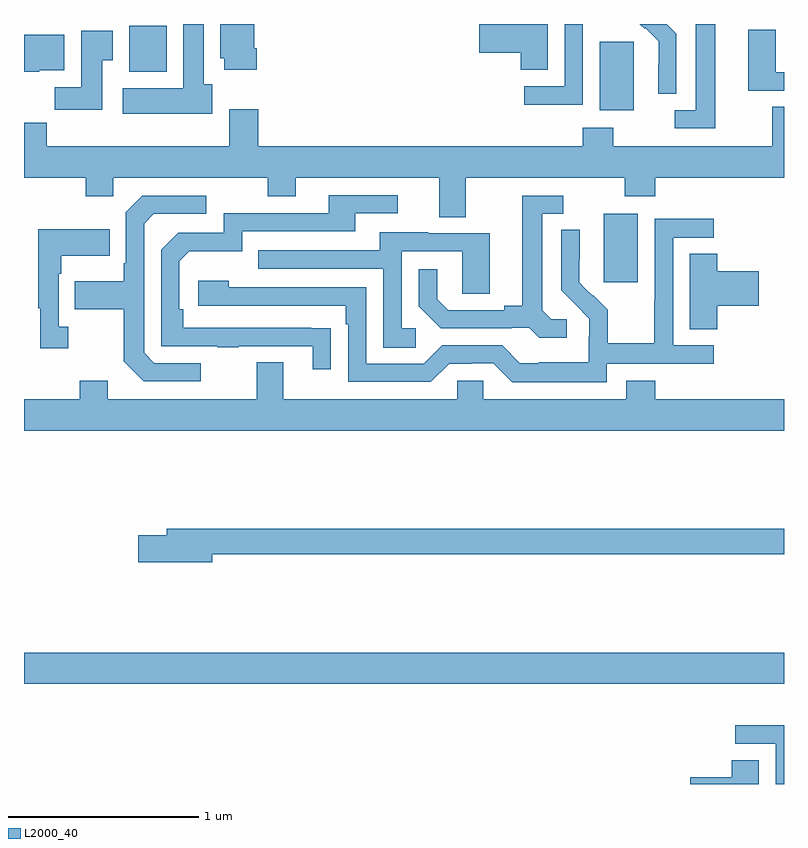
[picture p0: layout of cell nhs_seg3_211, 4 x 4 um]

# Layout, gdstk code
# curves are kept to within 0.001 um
import gdstk
lib = gdstk.Library(unit=1e-6, precision=1e-09)
def R(c, l, rs):  # rectangles x0, y0, x1, y1
    for r in rs: c.add(gdstk.rectangle(r[:2], r[2:], *l))
def P(c, l, *ps):  # polygons
    for p in ps: c.add(gdstk.Polygon(p, *l))
L2000_40 = (2000, 40)

nhs_seg3_211 = lib.new_cell('nhs_seg3_211')
R(nhs_seg3_211, L2000_40, [(121,688.928,125,689.092), (124.052,691.041,124.231,691.402), (124.031,691.946,124.21,692.307), (121.553,692.15,121.75,692.392)])
P(nhs_seg3_211, L2000_40, [(124.434,692.35),(124.384,692.4),(124.242,692.4),(124.266,692.376),(124.269,692.379),(124.34,692.309),(124.34,692.186),(124.338,692.186),(124.338,692.032),(124.434,692.032)],
  [(123.942,692.4),(123.846,692.4),(123.846,692.073),(123.633,692.073),(123.633,691.975),(123.942,691.975)],
  [(124.639,692.4),(124.535,692.4),(124.535,691.947),(124.425,691.947),(124.425,691.851),(124.639,691.851)],
  [(121.99,692.082),(121.945,692.082),(121.945,692.4),(121.838,692.4),(121.838,692.062),(121.521,692.062),(121.521,691.928),(121.99,691.928)],
  [(122.225,692.272),(122.212,692.272),(122.212,692.4),(122.033,692.4),(122.033,692.22),(122.054,692.22),(122.054,692.16),(122.225,692.16)],
  [(123.757,692.4),(123.396,692.4),(123.396,692.249),(123.614,692.249),(123.614,692.158),(123.757,692.158)],
  [(125,692.145),(124.956,692.145),(124.956,692.369),(124.811,692.369),(124.811,692.049),(125,692.049)],
  [(121.411,692.209),(121.468,692.209),(121.468,692.365),(121.301,692.365),(121.301,692.068),(121.162,692.068),(121.162,691.95),(121.411,691.95)],
  [(121.08,692.156),(121.213,692.156),(121.213,692.344),(121,692.344),(121,692.15),(121.08,692.15)],
  [(123.325,691.592),(124.162,691.592),(124.162,691.493),(124.322,691.493),(124.322,691.592),(125,691.592),(125,691.964),(124.937,691.964),(124.937,691.756),(124.101,691.756),(124.101,691.855),(123.941,691.855),(123.941,691.756),(122.234,691.756),(122.234,691.951),(122.081,691.951),(122.081,691.756),(121.121,691.756),(121.121,691.88),(121,691.88),(121,691.592),(121.324,691.592),(121.324,691.493),(121.47,691.493),(121.47,691.592),(122.284,691.592),(122.284,691.493),(122.431,691.493),(122.431,691.592),(123.185,691.592),(123.185,691.384),(123.325,691.384)],
  [(122.615,690.8),(121.838,690.801),(121.838,690.898),(121.818,690.898),(121.818,691.152),(121.871,691.205),(122.148,691.205),(122.148,691.308),(122.743,691.308),(122.743,691.404),(122.968,691.404),(122.968,691.5),(122.603,691.5),(122.603,691.404),(122.052,691.404),(122.052,691.302),(121.812,691.302),(121.722,691.212),(121.722,690.705),(122.017,690.705),(122.017,690.7),(122.129,690.7),(122.129,690.705),(122.519,690.705),(122.519,690.582),(122.615,690.582)],
  [(121.93,690.615),(121.686,690.615),(121.632,690.669),(121.632,691.35),(121.683,691.401),(121.96,691.401),(121.96,691.497),(121.623,691.497),(121.536,691.41),(121.536,691.141),(121.524,691.141),(121.524,691.045),(121.267,691.045),(121.267,690.898),(121.524,690.898),(121.524,690.625),(121.629,690.519),(121.93,690.519)],
  [(123.856,690.846),(123.774,690.846),(123.727,690.893),(123.727,691.401),(123.838,691.401),(123.838,691.497),(123.623,691.497),(123.623,690.917),(123.527,690.917),(123.527,690.894),(123.232,690.894),(123.175,690.951),(123.175,691.108),(123.078,691.108),(123.078,690.914),(123.194,690.798),(123.566,690.798),(123.566,690.801),(123.66,690.801),(123.712,690.749),(123.856,690.749)],
  [(124.068,690.612),(124.63,690.612),(124.63,690.708),(124.416,690.708),(124.416,691.275),(124.63,691.275),(124.63,691.374),(124.32,691.374),(124.32,690.944),(124.318,690.944),(124.318,690.721),(124.073,690.721),(124.073,690.895),(123.996,690.972),(123.993,690.969),(123.923,691.04),(123.924,691.316),(123.828,691.316),(123.828,690.998),(123.974,690.85),(123.974,690.753),(123.972,690.753),(123.972,690.619),(123.709,690.619),(123.709,690.615),(123.609,690.615),(123.516,690.708),(123.201,690.708),(123.105,690.612),(122.802,690.612),(122.802,691.014),(122.078,691.014),(122.078,691.048),(121.917,691.048),(121.917,690.918),(122.693,690.918),(122.693,690.821),(122.706,690.821),(122.706,690.516),(123.141,690.516),(123.237,690.612),(123.356,690.612),(123.356,690.615),(123.471,690.615),(123.571,690.515),(124.068,690.515)],
  [(121.234,690.806),(121.182,690.806),(121.182,691.085),(121.195,691.085),(121.195,691.181),(121.451,691.181),(121.451,691.321),(121.074,691.321),(121.074,690.905),(121.085,690.905),(121.085,690.693),(121.234,690.693)],
  [(123.061,690.798),(122.988,690.798),(122.988,691.203),(123.306,691.203),(123.306,690.979),(123.451,690.979),(123.451,691.299),(123.127,691.299),(123.127,691.303),(122.873,691.303),(122.873,691.209),(122.233,691.209),(122.233,691.113),(122.892,691.113),(122.892,690.697),(123.061,690.697)],
  [(124.649,690.917),(124.867,690.917),(124.867,691.1),(124.649,691.1),(124.649,691.19),(124.505,691.19),(124.505,690.793),(124.649,690.793)],
  [(125,690.424),(124.322,690.424),(124.322,690.523),(124.169,690.523),(124.169,690.424),(123.417,690.424),(123.417,690.522),(123.279,690.522),(123.279,690.424),(122.365,690.424),(122.365,690.619),(122.225,690.619),(122.225,690.424),(121.441,690.424),(121.441,690.523),(121.294,690.523),(121.294,690.424),(121,690.424),(121,690.26),(125,690.26)],
  [(121.99,689.608),(125,689.608),(125,689.744),(121.751,689.744),(121.751,689.708),(121.602,689.708),(121.602,689.566),(121.99,689.566)],
  [(125,688.71),(124.743,688.71),(124.743,688.611),(124.956,688.611),(124.956,688.4),(125,688.4)],
  [(124.867,688.526),(124.724,688.526),(124.724,688.436),(124.506,688.436),(124.506,688.4),(124.867,688.4)])

lib.write_gds('nhs_seg3_211.gds')
